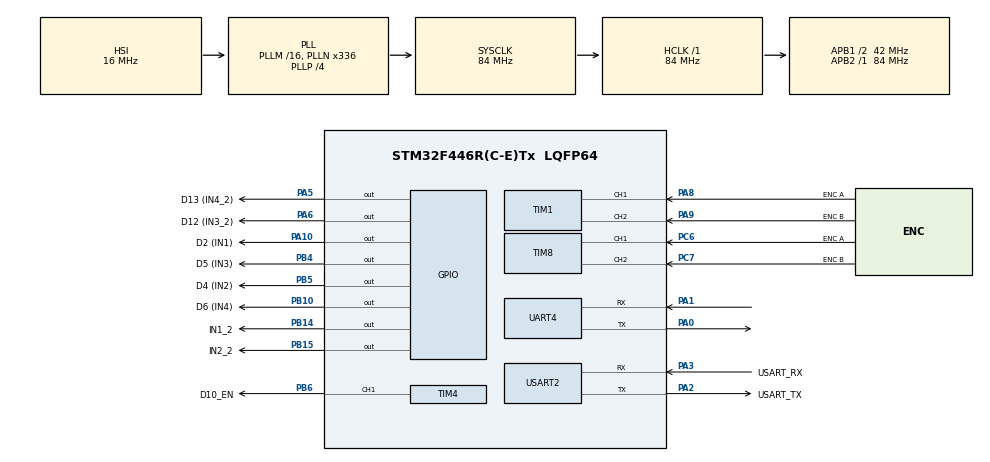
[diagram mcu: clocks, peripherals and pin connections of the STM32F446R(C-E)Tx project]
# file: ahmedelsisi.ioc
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FREERTOS.Tasks01=defaultTask,24,128,StartDefaultTask,Default,NULL,Dynamic,NULL,NULL
FREERTOS.configUSE_NEWLIB_REENTRANT=1
Mcu.Family=STM32F4
Mcu.Name=STM32F446R(C-E)Tx
Mcu.Package=LQFP64
NVIC.PriorityGroup=NVIC_PRIORITYGROUP_4
NVIC.TIM6_DAC_IRQn=true\:15\:0\:false\:false\:true\:false\:false\:true\:true
NVIC.TimeBase=TIM6_DAC_IRQn
NVIC.TimeBaseIP=TIM6
NVIC.UART4_IRQn=true\:5\:0\:false\:false\:true\:true\:true\:true\:true
PA0-WKUP.Mode=Asynchronous
PA0-WKUP.Signal=UART4_TX
PA1.Mode=Asynchronous
PA1.Signal=UART4_RX
PA10.GPIO_Label=D2 (IN1)
PA10.Signal=GPIO_Output
PA13.GPIO_Label=TMS
PA13.Mode=Serial_Wire
PA13.Signal=SYS_JTMS-SWDIO
PA14.GPIO_Label=TCK
PA14.Mode=Serial_Wire
PA14.Signal=SYS_JTCK-SWCLK
PA2.GPIO_Label=USART_TX
PA2.Mode=Asynchronous
PA2.Signal=USART2_TX
PA3.GPIO_Label=USART_RX
PA3.Mode=Asynchronous
PA3.Signal=USART2_RX
PA5.GPIO_Label=D13 (IN4_2)
PA5.Signal=GPIO_Output
PA6.GPIO_Label=D12 (IN3_2)
PA6.Signal=GPIO_Output
PA8.GPIO_Label=ENC A
PA8.Signal=S_TIM1_CH1
PA9.GPIO_Label=ENC B
PA9.Signal=S_TIM1_CH2
PB10.GPIO_Label=D6 (IN4)
PB10.Signal=GPIO_Output
PB14.GPIO_Label=IN1_2
PB14.Signal=GPIO_Output
PB15.GPIO_Label=IN2_2
PB15.Signal=GPIO_Output
PB3.GPIO_Label=SWO
PB3.Signal=SYS_JTDO-SWO
PB4.GPIO_Label=D5 (IN3)
PB4.Signal=GPIO_Output
PB5.GPIO_Label=D4 (IN2)
PB5.Signal=GPIO_Output
PB6.GPIO_Label=D10_EN
PB6.Signal=S_TIM4_CH1
PC14-OSC32_IN.Mode=LSE-External-Oscillator
PC14-OSC32_IN.Signal=RCC_OSC32_IN
PC15-OSC32_OUT.Mode=LSE-External-Oscillator
PC15-OSC32_OUT.Signal=RCC_OSC32_OUT
PC6.GPIO_Label=ENC A
PC6.Signal=S_TIM8_CH1
PC7.GPIO_Label=ENC B
PC7.Signal=S_TIM8_CH2
PH0-OSC_IN.Mode=HSE-External-Oscillator
PH0-OSC_IN.Signal=RCC_OSC_IN
PH1-OSC_OUT.Mode=HSE-External-Oscillator
PH1-OSC_OUT.Signal=RCC_OSC_OUT
ProjectManager.HeapSize=0x200
ProjectManager.StackSize=0x400
ProjectManager.TargetToolchain=STM32CubeIDE
RCC.48MHZClocksFreq_Value=84000000
RCC.AHBFreq_Value=84000000
RCC.APB1CLKDivider=RCC_HCLK_DIV2
RCC.APB1Freq_Value=42000000
RCC.APB1TimFreq_Value=84000000
RCC.APB2Freq_Value=84000000
RCC.APB2TimFreq_Value=84000000
RCC.CortexFreq_Value=84000000
RCC.FLatency-AdvancedSettings=FLASH_LATENCY_2
RCC.HCLKFreq_Value=84000000
RCC.HSE_VALUE=8000000
RCC.HSI_VALUE=16000000
RCC.PLLN=336
RCC.PLLP=RCC_PLLP_DIV4
RCC.SYSCLKFreq_VALUE=84000000
RCC.SYSCLKSource=RCC_SYSCLKSOURCE_PLLCLK
RCC.USBFreq_Value=168000000
RCC.VCOOutputFreq_Value=336000000
SH.S_TIM1_CH1.0=TIM1_CH1,Encoder_Interface
SH.S_TIM1_CH2.0=TIM1_CH2,Encoder_Interface
SH.S_TIM4_CH1.0=TIM4_CH1,PWM Generation1 CH1
SH.S_TIM8_CH1.0=TIM8_CH1,Encoder_Interface
SH.S_TIM8_CH2.0=TIM8_CH2,Encoder_Interface
TIM1.EncoderMode=TIM_ENCODERMODE_TI12
TIM1.IC1Polarity=TIM_ICPOLARITY_FALLING
TIM1.IC2Polarity=TIM_ICPOLARITY_FALLING
TIM4.Channel-PWM\ Generation1\ CH1=TIM_CHANNEL_1
TIM4.Period=49
TIM4.Prescaler=83
TIM8.EncoderMode=TIM_ENCODERMODE_TI12
TIM8.IC1Polarity=TIM_ICPOLARITY_FALLING
TIM8.IC2Polarity=TIM_ICPOLARITY_FALLING
UART4.VirtualMode=Asynchronous
USART2.VirtualMode=VM_ASYNC
VP_FREERTOS_VS_CMSIS_V2.Mode=CMSIS_V2
VP_SYS_VS_tim6.Mode=TIM6
board=NUCLEO-F446RE

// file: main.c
/* USER CODE BEGIN Header */
/**
  ******************************************************************************
  * @file           : main.c
  * @brief          : Main program body
  ******************************************************************************
  * @attention
  *
  * Copyright (c) 2025 STMicroelectronics.
  * All rights reserved.
  *
  * This software is licensed under terms that can be found in the LICENSE file
  * in the root directory of this software component.
  * If no LICENSE file comes with this software, it is provided AS-IS.
  *
  ******************************************************************************
  */
/* USER CODE END Header */
#include "main.h"
#include "cmsis_os.h"
#include <string.h>
#include <stdio.h>
#include <math.h>
#include <stdlib.h>

TIM_HandleTypeDef htim1;
TIM_HandleTypeDef htim4;
TIM_HandleTypeDef htim8;

UART_HandleTypeDef huart4;
UART_HandleTypeDef huart2;

/* Definitions for defaultTask */
osThreadId_t defaultTaskHandle;
const osThreadAttr_t defaultTask_attributes = {
  .name = "defaultTask",
  .stack_size = 128 * 4,
  .priority = (osPriority_t) osPriorityNormal,
};
osThreadId_t controlTaskHandle;
const osThreadAttr_t controlTask_attributes = {
  .name = "controlTask",
  .stack_size = 128 * 4,
  .priority = (osPriority_t) osPriorityAboveNormal,
};
osThreadId_t encoderTaskHandle;
const osThreadAttr_t encoderTask_attributes = {
  .name = "encoderTask",
  .stack_size = 256 * 4,
  .priority = (osPriority_t) osPriorityLow,
};

/* USER CODE BEGIN PV */
volatile uint8_t uart4_rx;
volatile uint8_t uart2_rx;
osMessageQueueId_t velQueueHandle;
volatile uint32_t last_cmd_time_ms = 0;

typedef struct
{
  int16_t left_pwm;
  int16_t right_pwm;
} VelMsg_t;

static char rx_line_buf[32];
static uint8_t rx_line_idx = 0;

int32_t last_ticks1 = 0;
int32_t last_ticks2 = 0;

float distance1 = 0;
float distance2 = 0;

#define TICKS_PER_REV 3960.0f
#define WHEEL_DIAMETER 6.7f
#define WHEEL_CIRCUMFERENCE (3.1416f * WHEEL_DIAMETER)
#define CM_PER_TICK (WHEEL_CIRCUMFERENCE / TICKS_PER_REV)

volatile int32_t prev_enc1 = 0;
volatile int32_t prev_enc2 = 0;
/* USER CODE END PV */

void SystemClock_Config(void);
static void MX_GPIO_Init(void);
static void MX_USART2_UART_Init(void);
static void MX_TIM8_Init(void);
static void MX_TIM4_Init(void);
static void MX_TIM1_Init(void);
static void MX_UART4_Init(void);
void StartDefaultTask(void *argument);

/* USER CODE BEGIN PFP */
void StartControlTask(void *argument);
void StartEncoderTask(void *argument);
/* USER CODE END PFP */

/* USER CODE BEGIN 0 */
static inline void set_speed(uint16_t duty)
{
  __HAL_TIM_SET_COMPARE(&htim4, TIM_CHANNEL_1, duty);
}

static inline int16_t encoder_delta_16bit(uint16_t now, uint16_t previous)
{
  return (int16_t)(now - previous);
}

static inline void proto_uart_start_rx(UART_HandleTypeDef *huart, volatile uint8_t *rx_byte)
{
  HAL_UART_Receive_IT(huart, (uint8_t *)rx_byte, 1);
}

static inline void proto_uart_rearm(UART_HandleTypeDef *huart)
{
  if (huart == &huart4)
  {
    HAL_UART_Receive_IT(&huart4, (uint8_t *)&uart4_rx, 1);
  }
  else if (huart == &huart2)
  {
    HAL_UART_Receive_IT(&huart2, (uint8_t *)&uart2_rx, 1);
  }
}

#define MAX_PWM 49

static int16_t clamp_pwm(int value)
{
  if (value > MAX_PWM) return MAX_PWM;
  if (value < -MAX_PWM) return -MAX_PWM;
  return (int16_t)value;
}

static void parse_uart_byte(uint8_t byte)
{
  if (byte == '\r')
  {
    return;
  }

  if (byte == '\n')
  {
    rx_line_buf[rx_line_idx] = '\0';

    if (strncmp(rx_line_buf, "VEL,", 4) == 0)
    {
      int lp = 0;
      int rp = 0;

      if (sscanf(rx_line_buf + 4, "%d,%d", &lp, &rp) == 2)
      {
        VelMsg_t msg;
        msg.left_pwm = clamp_pwm(lp);
        msg.right_pwm = clamp_pwm(rp);

        osMessageQueuePut(velQueueHandle, &msg, 0, 0);
        last_cmd_time_ms = HAL_GetTick();
      }
    }

    rx_line_idx = 0;
  }
  else
  {
    if (rx_line_idx < sizeof(rx_line_buf) - 1)
    {
      rx_line_buf[rx_line_idx++] = (char)byte;
    }
    else
    {
      rx_line_idx = 0;  // discard too-long or corrupted packet
    }
  }
}

static inline void proto_uart_tx(const uint8_t *buf, uint16_t len)
{
  HAL_UART_Transmit(&huart4, (uint8_t *)buf, len, 20);
  HAL_UART_Transmit(&huart2, (uint8_t *)buf, len, 20);
}

/* ------------------------------------------------------
   D2  = PA10 -> Motor1 IN1  (front-left)
   D4  = PB5  -> Motor1 IN2  (front-left)
   D5  = PB4  -> Motor2 IN1  (front-right)
   D6  = PB10 -> Motor2 IN2  (front-right)
   28  = PB14 -> Motor3 IN1  (rear-left)
   26  = PB15 -> Motor3 IN2  (rear-left)
   D12 = PA6  -> Motor4 IN1  (rear-right)
   D13 = PA5  -> Motor4 IN2  (rear-right)
   ------------------------------------------------------ */

static inline void left_forward(void)
{
  HAL_GPIO_WritePin(GPIOA, GPIO_PIN_10, GPIO_PIN_SET);
  HAL_GPIO_WritePin(GPIOB, GPIO_PIN_5, GPIO_PIN_RESET);
  HAL_GPIO_WritePin(GPIOB, GPIO_PIN_14, GPIO_PIN_RESET);
  HAL_GPIO_WritePin(GPIOB, GPIO_PIN_15, GPIO_PIN_SET);
}

static inline void left_reverse(void)
{
  HAL_GPIO_WritePin(GPIOA, GPIO_PIN_10, GPIO_PIN_RESET);
  HAL_GPIO_WritePin(GPIOB, GPIO_PIN_5, GPIO_PIN_SET);
  HAL_GPIO_WritePin(GPIOB, GPIO_PIN_14, GPIO_PIN_SET);
  HAL_GPIO_WritePin(GPIOB, GPIO_PIN_15, GPIO_PIN_RESET);
}

static inline void right_forward(void)
{
  HAL_GPIO_WritePin(GPIOB, GPIO_PIN_4, GPIO_PIN_SET);
  HAL_GPIO_WritePin(GPIOB, GPIO_PIN_10, GPIO_PIN_RESET);
  HAL_GPIO_WritePin(GPIOA, GPIO_PIN_6, GPIO_PIN_RESET);
  HAL_GPIO_WritePin(GPIOA, GPIO_PIN_5, GPIO_PIN_SET);
}

static inline void right_reverse(void)
{
  HAL_GPIO_WritePin(GPIOB, GPIO_PIN_4, GPIO_PIN_RESET);
  HAL_GPIO_WritePin(GPIOB, GPIO_PIN_10, GPIO_PIN_SET);
  HAL_GPIO_WritePin(GPIOA, GPIO_PIN_6, GPIO_PIN_SET);
  HAL_GPIO_WritePin(GPIOA, GPIO_PIN_5, GPIO_PIN_RESET);
}

static inline void left_brake(void)
{
  HAL_GPIO_WritePin(GPIOA, GPIO_PIN_10, GPIO_PIN_RESET);
  HAL_GPIO_WritePin(GPIOB, GPIO_PIN_5, GPIO_PIN_RESET);
  HAL_GPIO_WritePin(GPIOB, GPIO_PIN_14, GPIO_PIN_RESET);
  HAL_GPIO_WritePin(GPIOB, GPIO_PIN_15, GPIO_PIN_RESET);
}

static inline void right_brake(void)
{
  HAL_GPIO_WritePin(GPIOB, GPIO_PIN_4, GPIO_PIN_RESET);
  HAL_GPIO_WritePin(GPIOB, GPIO_PIN_10, GPIO_PIN_RESET);
  HAL_GPIO_WritePin(GPIOA, GPIO_PIN_6, GPIO_PIN_RESET);
  HAL_GPIO_WritePin(GPIOA, GPIO_PIN_5, GPIO_PIN_RESET);
}

static void apply_velocity(int16_t left_pwm, int16_t right_pwm)
{
  // Left side direction
  if (left_pwm > 0)
  {
    left_forward();
  }
  else if (left_pwm < 0)
  {
    left_reverse();
  }
  else
  {
    left_brake();
  }

  // Right side direction
  if (right_pwm > 0)
  {
    right_forward();
  }
  else if (right_pwm < 0)
  {
    right_reverse();
  }
  else
  {
    right_brake();
  }

  /*
   * Current hardware limitation:
   * This code still uses ONE shared PWM channel: TIM4 CH1.
   * Therefore, the direction is independent per side, but speed is averaged.
   * For true curved motion, later add one PWM channel for the left side
   * and one PWM channel for the right side.
   */
  uint16_t speed = (uint16_t)((abs((int)left_pwm) + abs((int)right_pwm)) / 2);
  set_speed(speed);
}

/* USER CODE END 0 */

int main(void)
{

  HAL_Init();

  SystemClock_Config();

  MX_GPIO_Init();
  MX_USART2_UART_Init();
  MX_TIM8_Init();
  MX_TIM4_Init();
  MX_TIM1_Init();
  MX_UART4_Init();

  /* USER CODE BEGIN 2 */
  HAL_TIM_PWM_Start(&htim4, TIM_CHANNEL_1);
  HAL_TIM_Encoder_Start(&htim8, TIM_CHANNEL_ALL);
  HAL_TIM_Encoder_Start(&htim1, TIM_CHANNEL_ALL);

  __HAL_TIM_SET_COUNTER(&htim8, 0);
  __HAL_TIM_SET_COUNTER(&htim1, 0);
  /* USER CODE END 2 */

  last_cmd_time_ms = HAL_GetTick();

  osKernelInitialize();
  velQueueHandle = osMessageQueueNew(8, sizeof(VelMsg_t), NULL);
  if (velQueueHandle == NULL) Error_Handler();

  defaultTaskHandle = osThreadNew(StartDefaultTask, NULL, &defaultTask_attributes);
  if (defaultTaskHandle == NULL) Error_Handler();

  controlTaskHandle = osThreadNew(StartControlTask, NULL, &controlTask_attributes);
  if (controlTaskHandle == NULL) Error_Handler();

  encoderTaskHandle = osThreadNew(StartEncoderTask, NULL, &encoderTask_attributes);
  if (encoderTaskHandle == NULL) Error_Handler();

  proto_uart_start_rx(&huart4, &uart4_rx);
  proto_uart_start_rx(&huart2, &uart2_rx);

  osKernelStart();

  while (1)
  {
  }
}

void SystemClock_Config(void)
{
  RCC_OscInitTypeDef RCC_OscInitStruct = {0};
  RCC_ClkInitTypeDef RCC_ClkInitStruct = {0};

  __HAL_RCC_PWR_CLK_ENABLE();
  __HAL_PWR_VOLTAGESCALING_CONFIG(PWR_REGULATOR_VOLTAGE_SCALE3);

  RCC_OscInitStruct.OscillatorType = RCC_OSCILLATORTYPE_HSI;
  RCC_OscInitStruct.HSIState = RCC_HSI_ON;
  RCC_OscInitStruct.HSICalibrationValue = RCC_HSICALIBRATION_DEFAULT;
  RCC_OscInitStruct.PLL.PLLState = RCC_PLL_ON;
  RCC_OscInitStruct.PLL.PLLSource = RCC_PLLSOURCE_HSI;
  RCC_OscInitStruct.PLL.PLLM = 16;
  RCC_OscInitStruct.PLL.PLLN = 336;
  RCC_OscInitStruct.PLL.PLLP = RCC_PLLP_DIV4;
  RCC_OscInitStruct.PLL.PLLQ = 2;
  RCC_OscInitStruct.PLL.PLLR = 2;
  if (HAL_RCC_OscConfig(&RCC_OscInitStruct) != HAL_OK)
  {
    Error_Handler();
  }

  RCC_ClkInitStruct.ClockType = RCC_CLOCKTYPE_HCLK | RCC_CLOCKTYPE_SYSCLK
                              | RCC_CLOCKTYPE_PCLK1 | RCC_CLOCKTYPE_PCLK2;
  RCC_ClkInitStruct.SYSCLKSource = RCC_SYSCLKSOURCE_PLLCLK;
  RCC_ClkInitStruct.AHBCLKDivider = RCC_SYSCLK_DIV1;
  RCC_ClkInitStruct.APB1CLKDivider = RCC_HCLK_DIV2;
  RCC_ClkInitStruct.APB2CLKDivider = RCC_HCLK_DIV1;

  if (HAL_RCC_ClockConfig(&RCC_ClkInitStruct, FLASH_LATENCY_2) != HAL_OK)
  {
    Error_Handler();
  }
}

static void MX_TIM1_Init(void)
{
  TIM_Encoder_InitTypeDef sConfig = {0};
  TIM_MasterConfigTypeDef sMasterConfig = {0};

  htim1.Instance = TIM1;
  htim1.Init.Prescaler = 0;
  htim1.Init.CounterMode = TIM_COUNTERMODE_UP;
  htim1.Init.Period = 65535;
  htim1.Init.ClockDivision = TIM_CLOCKDIVISION_DIV1;
  htim1.Init.RepetitionCounter = 0;
  htim1.Init.AutoReloadPreload = TIM_AUTORELOAD_PRELOAD_DISABLE;
  sConfig.EncoderMode = TIM_ENCODERMODE_TI12;
  sConfig.IC1Polarity = TIM_ICPOLARITY_FALLING;
  sConfig.IC1Selection = TIM_ICSELECTION_DIRECTTI;
  sConfig.IC1Prescaler = TIM_ICPSC_DIV1;
  sConfig.IC1Filter = 0;
  sConfig.IC2Polarity = TIM_ICPOLARITY_FALLING;
  sConfig.IC2Selection = TIM_ICSELECTION_DIRECTTI;
  sConfig.IC2Prescaler = TIM_ICPSC_DIV1;
  sConfig.IC2Filter = 0;
  if (HAL_TIM_Encoder_Init(&htim1, &sConfig) != HAL_OK)
  {
    Error_Handler();
  }
  sMasterConfig.MasterOutputTrigger = TIM_TRGO_RESET;
  sMasterConfig.MasterSlaveMode = TIM_MASTERSLAVEMODE_DISABLE;
  if (HAL_TIMEx_MasterConfigSynchronization(&htim1, &sMasterConfig) != HAL_OK)
  {
    Error_Handler();
  }
}

static void MX_TIM4_Init(void)
{
  TIM_MasterConfigTypeDef sMasterConfig = {0};
  TIM_OC_InitTypeDef sConfigOC = {0};

  htim4.Instance = TIM4;
  htim4.Init.Prescaler = 83;
  htim4.Init.CounterMode = TIM_COUNTERMODE_UP;
  htim4.Init.Period = 49;
  htim4.Init.ClockDivision = TIM_CLOCKDIVISION_DIV1;
  htim4.Init.AutoReloadPreload = TIM_AUTORELOAD_PRELOAD_DISABLE;
  if (HAL_TIM_PWM_Init(&htim4) != HAL_OK)
  {
    Error_Handler();
  }
  sMasterConfig.MasterOutputTrigger = TIM_TRGO_RESET;
  sMasterConfig.MasterSlaveMode = TIM_MASTERSLAVEMODE_DISABLE;
  if (HAL_TIMEx_MasterConfigSynchronization(&htim4, &sMasterConfig) != HAL_OK)
  {
    Error_Handler();
  }
  sConfigOC.OCMode = TIM_OCMODE_PWM1;
  sConfigOC.Pulse = 0;
  sConfigOC.OCPolarity = TIM_OCPOLARITY_HIGH;
  sConfigOC.OCFastMode = TIM_OCFAST_DISABLE;
  if (HAL_TIM_PWM_ConfigChannel(&htim4, &sConfigOC, TIM_CHANNEL_1) != HAL_OK)
  {
    Error_Handler();
  }
  HAL_TIM_MspPostInit(&htim4);
}

static void MX_TIM8_Init(void)
{
  TIM_Encoder_InitTypeDef sConfig = {0};
  TIM_MasterConfigTypeDef sMasterConfig = {0};

  htim8.Instance = TIM8;
  htim8.Init.Prescaler = 0;
  htim8.Init.CounterMode = TIM_COUNTERMODE_UP;
  htim8.Init.Period = 65535;
  htim8.Init.ClockDivision = TIM_CLOCKDIVISION_DIV1;
  htim8.Init.RepetitionCounter = 0;
  htim8.Init.AutoReloadPreload = TIM_AUTORELOAD_PRELOAD_DISABLE;
  sConfig.EncoderMode = TIM_ENCODERMODE_TI12;
  sConfig.IC1Polarity = TIM_ICPOLARITY_FALLING;
  sConfig.IC1Selection = TIM_ICSELECTION_DIRECTTI;
  sConfig.IC1Prescaler = TIM_ICPSC_DIV1;
  sConfig.IC1Filter = 0;
  sConfig.IC2Polarity = TIM_ICPOLARITY_FALLING;
  sConfig.IC2Selection = TIM_ICSELECTION_DIRECTTI;
  sConfig.IC2Prescaler = TIM_ICPSC_DIV1;
  sConfig.IC2Filter = 0;
  if (HAL_TIM_Encoder_Init(&htim8, &sConfig) != HAL_OK)
  {
    Error_Handler();
  }
  sMasterConfig.MasterOutputTrigger = TIM_TRGO_RESET;
  sMasterConfig.MasterSlaveMode = TIM_MASTERSLAVEMODE_DISABLE;
  if (HAL_TIMEx_MasterConfigSynchronization(&htim8, &sMasterConfig) != HAL_OK)
  {
    Error_Handler();
  }
}

static void MX_UART4_Init(void)
{
  huart4.Instance = UART4;
  huart4.Init.BaudRate = 115200;
  huart4.Init.WordLength = UART_WORDLENGTH_8B;
  huart4.Init.StopBits = UART_STOPBITS_1;
  huart4.Init.Parity = UART_PARITY_NONE;
  huart4.Init.Mode = UART_MODE_TX_RX;
  huart4.Init.HwFlowCtl = UART_HWCONTROL_NONE;
  huart4.Init.OverSampling = UART_OVERSAMPLING_16;
  if (HAL_UART_Init(&huart4) != HAL_OK)
  {
    Error_Handler();
  }
}

static void MX_USART2_UART_Init(void)
{
  huart2.Instance = USART2;
  huart2.Init.BaudRate = 115200;
  huart2.Init.WordLength = UART_WORDLENGTH_8B;
  huart2.Init.StopBits = UART_STOPBITS_1;
  huart2.Init.Parity = UART_PARITY_NONE;
  huart2.Init.Mode = UART_MODE_TX_RX;
  huart2.Init.HwFlowCtl = UART_HWCONTROL_NONE;
  huart2.Init.OverSampling = UART_OVERSAMPLING_16;
  if (HAL_UART_Init(&huart2) != HAL_OK)
  {
    Error_Handler();
  }
}

static void MX_GPIO_Init(void)
{
  GPIO_InitTypeDef GPIO_InitStruct = {0};

  __HAL_RCC_GPIOC_CLK_ENABLE();
  __HAL_RCC_GPIOH_CLK_ENABLE();
  __HAL_RCC_GPIOA_CLK_ENABLE();
  __HAL_RCC_GPIOB_CLK_ENABLE();

  HAL_GPIO_WritePin(GPIOA, D13_Pin | D12_Pin | D2_Pin, GPIO_PIN_RESET);
  HAL_GPIO_WritePin(GPIOB, D6_Pin | IN1_2_Pin | IN2_2_Pin | D5_Pin | D4_Pin, GPIO_PIN_RESET);

  GPIO_InitStruct.Pin = D13_Pin | D12_Pin | D2_Pin;
  GPIO_InitStruct.Mode = GPIO_MODE_OUTPUT_PP;
  GPIO_InitStruct.Pull = GPIO_NOPULL;
  GPIO_InitStruct.Speed = GPIO_SPEED_FREQ_LOW;
  HAL_GPIO_Init(GPIOA, &GPIO_InitStruct);

  GPIO_InitStruct.Pin = D6_Pin | IN1_2_Pin | IN2_2_Pin | D5_Pin | D4_Pin;
  GPIO_InitStruct.Mode = GPIO_MODE_OUTPUT_PP;
  GPIO_InitStruct.Pull = GPIO_NOPULL;
  GPIO_InitStruct.Speed = GPIO_SPEED_FREQ_LOW;
  HAL_GPIO_Init(GPIOB, &GPIO_InitStruct);
}

/* USER CODE BEGIN 4 */
void HAL_UART_RxCpltCallback(UART_HandleTypeDef *huart)
{
  if (huart == &huart4)
  {
    parse_uart_byte(uart4_rx);
    proto_uart_rearm(&huart4);
  }
  else if (huart == &huart2)
  {
    // USART2 is debug only. Do not allow it to control motion.
    proto_uart_rearm(&huart2);
  }
}

void HAL_UART_ErrorCallback(UART_HandleTypeDef *huart)
{
  if (huart == &huart4)
  {
    __HAL_UART_CLEAR_PEFLAG(&huart4);
    __HAL_UART_CLEAR_FEFLAG(&huart4);
    __HAL_UART_CLEAR_NEFLAG(&huart4);
    __HAL_UART_CLEAR_OREFLAG(&huart4);
    proto_uart_rearm(&huart4);
  }
  else if (huart == &huart2)
  {
    __HAL_UART_CLEAR_PEFLAG(&huart2);
    __HAL_UART_CLEAR_FEFLAG(&huart2);
    __HAL_UART_CLEAR_NEFLAG(&huart2);
    __HAL_UART_CLEAR_OREFLAG(&huart2);
    proto_uart_rearm(&huart2);
  }
}
/* USER CODE END 4 */

void StartDefaultTask(void *argument)
{
  for (;;)
  {
    // Safety watchdog: if valid VEL packets stop, force motor stop.
    if ((HAL_GetTick() - last_cmd_time_ms) > 500U)
    {
      apply_velocity(0, 0);
    }

    osDelay(20);
  }
}

void StartControlTask(void *argument)
{
  VelMsg_t msg;

  for (;;)
  {
    if (osMessageQueueGet(velQueueHandle, &msg, NULL, 20) == osOK)
    {
      apply_velocity(msg.left_pwm, msg.right_pwm);
    }

    osDelay(20);
  }
}

void StartEncoderTask(void *argument)
{
  uint16_t last_left_ticks = 0;
  uint16_t last_right_ticks = 0;

  int32_t left_total_ticks = 0;
  int32_t right_total_ticks = 0;

  float left_distance_cm = 0.0f;
  float right_distance_cm = 0.0f;

  uint32_t enc_seq = 0;
  char tx_buf[128];

  last_left_ticks = (uint16_t)__HAL_TIM_GET_COUNTER(&htim1);
  last_right_ticks = (uint16_t)__HAL_TIM_GET_COUNTER(&htim8);

  for (;;)
  {
    uint16_t current_left_ticks = (uint16_t)__HAL_TIM_GET_COUNTER(&htim1);
    uint16_t current_right_ticks = (uint16_t)__HAL_TIM_GET_COUNTER(&htim8);

    int16_t left_delta = -encoder_delta_16bit(current_left_ticks, last_left_ticks);
    int16_t right_delta = -encoder_delta_16bit(current_right_ticks, last_right_ticks);

    last_left_ticks = current_left_ticks;
    last_right_ticks = current_right_ticks;

    left_total_ticks += left_delta;
    right_total_ticks += right_delta;

    left_distance_cm += ((float)left_delta * CM_PER_TICK);
    right_distance_cm += ((float)right_delta * CM_PER_TICK);

    int tx_len = snprintf(
        tx_buf,
        sizeof(tx_buf),
        "ENC,%lu,%lu,%ld,%ld,%ld,%ld\r\n",
        (unsigned long)enc_seq++,
        (unsigned long)HAL_GetTick(),
        (long)left_delta,
        (long)right_delta,
        (long)left_total_ticks,
        (long)right_total_ticks
    );

    if (tx_len > 0)
    {
      proto_uart_tx((const uint8_t *)tx_buf, (uint16_t)tx_len);
    }

    osDelay(50);
  }
}

void HAL_TIM_PeriodElapsedCallback(TIM_HandleTypeDef *htim)
{
  if (htim->Instance == TIM6)
  {
    HAL_IncTick();
  }
}

void Error_Handler(void)
{
  __disable_irq();
  while (1)
  {
  }
}
